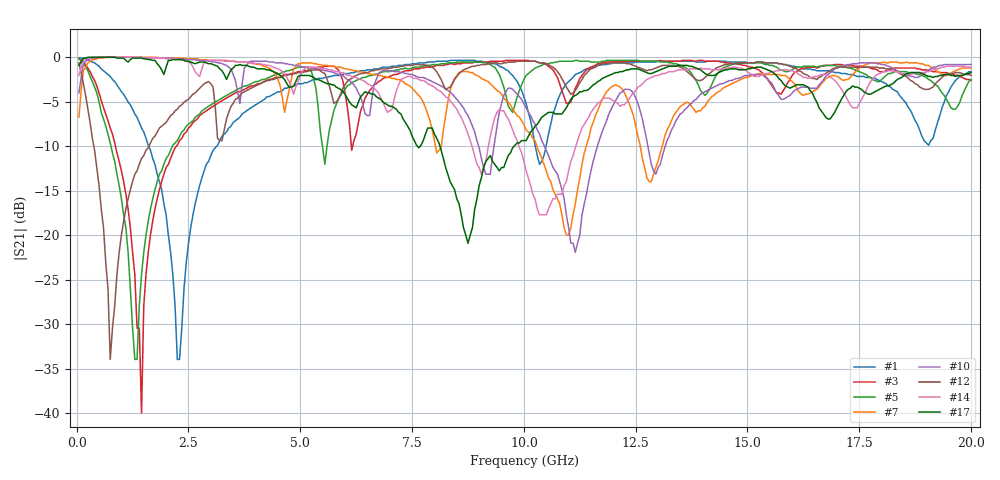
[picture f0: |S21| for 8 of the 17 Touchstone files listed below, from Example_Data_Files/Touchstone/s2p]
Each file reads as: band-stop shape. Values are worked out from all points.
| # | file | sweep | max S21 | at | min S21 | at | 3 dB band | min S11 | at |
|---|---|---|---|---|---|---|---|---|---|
| 1 | L-14C15N_SER.s2p | 50 MHz to 20 GHz | -0.09 dB | 50 MHz | -34.0 dB | 2.25 GHz | 10.95 GHz-18.1 GHz | -34.0 dB | 13.65 GHz |
| 2 | L-14C18N_SER.s2p | 300 kHz to 20 GHz | -0.12 dB | 300 kHz | -43.7 dB | 2.363 GHz | 16.14 GHz-20 GHz | -40.8 dB | 300 kHz |
| 3 | L-14C33N_SER.s2p | 50 MHz to 20 GHz | -0.09 dB | 50 MHz | -40.0 dB | 1.45 GHz | 11.2 GHz-15.5 GHz | -40.0 dB | 13.4 GHz |
| 4 | L-14C33N_SNT.s2p | 50 MHz to 20 GHz | 0.00 dB | 900 MHz | -17.1 dB | 9.6 GHz | 150 MHz-5.4 GHz | -34.0 dB | 1.15 GHz |
| 5 | L-14C39N_SER.s2p | 50 MHz to 20 GHz | -0.18 dB | 50 MHz | -34.0 dB | 1.3 GHz | 14.2 GHz-19.2 GHz | -34.0 dB | 12.55 GHz |
| 6 | L-14C39N_SNT.s2p | 50 MHz to 20 GHz | 0.00 dB | 700 MHz | -19.2 dB | 11.45 GHz | 15.05 GHz-20 GHz | -40.0 dB | 1.1 GHz |
| 7 | L-14C47N_SNT.s2p | 50 MHz to 20 GHz | 0.00 dB | 1.45 GHz | -20.0 dB | 10.95 GHz | 150 MHz-4.5 GHz | -40.0 dB | 1 GHz |
| 8 | L-14C56N_SER.s2p | 50 MHz to 20 GHz | -0.35 dB | 50 MHz | -34.0 dB | 1.15 GHz | 11.1 GHz-13.95 GHz | -24.4 dB | 13.25 GHz |
| 9 | L-14C68N_SER.s2p | 50 MHz to 20 GHz | -0.26 dB | 11.15 GHz | -34.0 dB | 850 MHz | 9.7 GHz-16.15 GHz | -40.0 dB | 13.65 GHz |
| 10 | L-14C68N_SNT.s2p | 50 MHz to 20 GHz | 0.00 dB | 550 MHz | -21.9 dB | 11.15 GHz | 100 MHz-3.55 GHz | -40.0 dB | 750 MHz |
| 11 | L-14C82N_SNT.s2p | 50 MHz to 20 GHz | 0.00 dB | 500 MHz | -21.9 dB | 11.75 GHz | 100 MHz-3.3 GHz | -40.0 dB | 700 MHz |
| 12 | L-14CR10_SER.s2p | 50 MHz to 20 GHz | -0.45 dB | 9.95 GHz | -34.0 dB | 750 MHz | 11.2 GHz-18.85 GHz | -30.5 dB | 12.55 GHz |
| 13 | L-14CR12_SER.s2p | 50 MHz to 20 GHz | -0.26 dB | 10.5 GHz | -34.0 dB | 650 MHz | 7.3 GHz-16.6 GHz | -40.0 dB | 12.85 GHz |
| 14 | L-14CR12_SNT.s2p | 50 MHz to 20 GHz | 0.00 dB | 350 MHz | -17.7 dB | 10.35 GHz | 50 MHz-4.75 GHz | -40.0 dB | 550 MHz |
| 15 | L-14CR15_SER.s2p | 50 MHz to 20 GHz | -0.26 dB | 10.7 GHz | -34.0 dB | 550 MHz | 4.4 GHz-20 GHz | -30.5 dB | 12.55 GHz |
| 16 | L-14CR18_SNT.s2p | 50 MHz to 20 GHz | 0.00 dB | 300 MHz | -20.9 dB | 9.95 GHz | 14.4 GHz-20 GHz | -40.0 dB | 450 MHz |
| 17 | L-14CR22_SNT.s2p | 50 MHz to 20 GHz | 0.00 dB | 250 MHz | -20.9 dB | 8.75 GHz | 50 MHz-4.7 GHz | -40.0 dB | 350 MHz |
